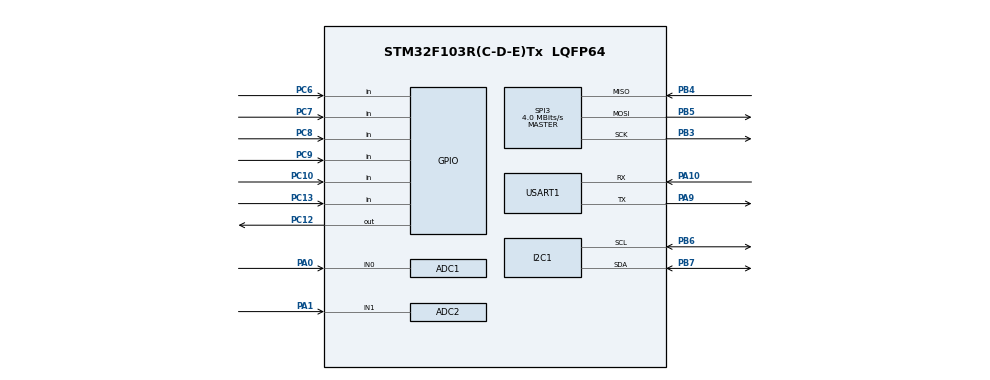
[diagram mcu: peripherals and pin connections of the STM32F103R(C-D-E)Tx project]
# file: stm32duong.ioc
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ADC1.Channel-1\#ChannelRegularConversion=ADC_CHANNEL_0
ADC1.NbrOfConversionFlag=1
ADC1.Rank-1\#ChannelRegularConversion=1
ADC1.SamplingTime-1\#ChannelRegularConversion=ADC_SAMPLETIME_1CYCLE_5
ADC1.master=1
ADC2.Channel-2\#ChannelRegularConversion=ADC_CHANNEL_1
ADC2.NbrOfConversionFlag=1
ADC2.Rank-2\#ChannelRegularConversion=1
ADC2.SamplingTime-2\#ChannelRegularConversion=ADC_SAMPLETIME_1CYCLE_5
Dma.ADC1.1.Direction=DMA_PERIPH_TO_MEMORY
Dma.ADC1.1.Instance=DMA1_Channel1
Dma.ADC1.1.MemDataAlignment=DMA_MDATAALIGN_HALFWORD
Dma.ADC1.1.MemInc=DMA_MINC_ENABLE
Dma.ADC1.1.Mode=DMA_NORMAL
Dma.ADC1.1.PeriphDataAlignment=DMA_PDATAALIGN_HALFWORD
Dma.ADC1.1.PeriphInc=DMA_PINC_DISABLE
Dma.ADC1.1.Priority=DMA_PRIORITY_LOW
Dma.Request0=USART1_TX
Dma.Request1=ADC1
Dma.USART1_TX.0.Direction=DMA_MEMORY_TO_PERIPH
Dma.USART1_TX.0.Instance=DMA1_Channel4
Dma.USART1_TX.0.MemDataAlignment=DMA_MDATAALIGN_BYTE
Dma.USART1_TX.0.MemInc=DMA_MINC_ENABLE
Dma.USART1_TX.0.Mode=DMA_NORMAL
Dma.USART1_TX.0.PeriphDataAlignment=DMA_PDATAALIGN_BYTE
Dma.USART1_TX.0.PeriphInc=DMA_PINC_DISABLE
Dma.USART1_TX.0.Priority=DMA_PRIORITY_LOW
FREERTOS.Tasks01=Task01_ADC_DMA,0,128,Task01_Adc_Dma,Default,NULL,Dynamic,NULL,NULL;Task02_DMA_Uart,1,128,Task02_Dma_Uart,Default,NULL,Dynamic,NULL,NULL;Task03_BlinkLed,-1,128,Task03_Blink_Led,Default,NULL,Dynamic,NULL,NULL
I2C1.I2C_Mode=I2C_Fast
Mcu.Family=STM32F1
Mcu.Name=STM32F103R(C-D-E)Tx
Mcu.Package=LQFP64
NVIC.DMA1_Channel1_IRQn=true\:5\:0\:false\:false\:true\:true\:false\:true\:true
NVIC.DMA1_Channel4_IRQn=true\:5\:0\:false\:false\:true\:true\:false\:true\:true
NVIC.PriorityGroup=NVIC_PRIORITYGROUP_4
NVIC.TIM1_UP_IRQn=true\:15\:0\:false\:false\:true\:false\:false\:true\:true
NVIC.TimeBase=TIM1_UP_IRQn
NVIC.TimeBaseIP=TIM1
PA0-WKUP.Signal=ADCx_IN0
PA1.Signal=ADCx_IN1
PA10.Mode=Asynchronous
PA10.Signal=USART1_RX
PA13.Mode=Serial_Wire
PA13.Signal=SYS_JTMS-SWDIO
PA14.Mode=Serial_Wire
PA14.Signal=SYS_JTCK-SWCLK
PA9.Mode=Asynchronous
PA9.Signal=USART1_TX
PB3.Mode=Full_Duplex_Master
PB3.Signal=SPI3_SCK
PB4.Mode=Full_Duplex_Master
PB4.Signal=SPI3_MISO
PB5.Mode=Full_Duplex_Master
PB5.Signal=SPI3_MOSI
PB6.Mode=I2C
PB6.Signal=I2C1_SCL
PB7.Mode=I2C
PB7.Signal=I2C1_SDA
PC10.GPIO_PuPd=GPIO_PULLDOWN
PC10.Signal=GPIO_Input
PC12.PinState=GPIO_PIN_RESET
PC12.Signal=GPIO_Output
PC13-TAMPER-RTC.GPIO_PuPd=GPIO_PULLDOWN
PC13-TAMPER-RTC.Signal=GPIO_Input
PC14-OSC32_IN.Mode=LSE-External-Oscillator
PC14-OSC32_IN.Signal=RCC_OSC32_IN
PC15-OSC32_OUT.Mode=LSE-External-Oscillator
PC15-OSC32_OUT.Signal=RCC_OSC32_OUT
PC6.GPIO_PuPd=GPIO_PULLDOWN
PC6.Signal=GPIO_Input
PC7.GPIO_PuPd=GPIO_PULLDOWN
PC7.Signal=GPIO_Input
PC8.GPIO_PuPd=GPIO_PULLDOWN
PC8.Signal=GPIO_Input
PC9.GPIO_PuPd=GPIO_PULLDOWN
PC9.Signal=GPIO_Input
PD0-OSC_IN.Mode=HSE-External-Oscillator
PD0-OSC_IN.Signal=RCC_OSC_IN
PD1-OSC_OUT.Mode=HSE-External-Oscillator
PD1-OSC_OUT.Signal=RCC_OSC_OUT
ProjectManager.HeapSize=0x200
ProjectManager.StackSize=0x400
ProjectManager.TargetToolchain=MDK-ARM V5.32
RCC.APB1Freq_Value=8000000
RCC.APB2Freq_Value=8000000
SH.ADCx_IN0.0=ADC1_IN0,IN0
SH.ADCx_IN1.0=ADC2_IN1,IN1
SPI3.CalculateBaudRate=4.0 MBits/s
SPI3.Direction=SPI_DIRECTION_2LINES
SPI3.Mode=SPI_MODE_MASTER
SPI3.VirtualType=VM_MASTER
USART1.VirtualMode=VM_ASYNC
VP_FREERTOS_VS_CMSIS_V1.Mode=CMSIS_V1
VP_SYS_VS_tim1.Mode=TIM1
board=custom

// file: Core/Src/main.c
/* USER CODE BEGIN Header */
/**
  ******************************************************************************
  * @file           : main.c
  * @brief          : Main program body
  ******************************************************************************
  * @attention
  *
  * Copyright (c) 2024 STMicroelectronics.
  * All rights reserved.
  *
  * This software is licensed under terms that can be found in the LICENSE file
  * in the root directory of this software component.
  * If no LICENSE file comes with this software, it is provided AS-IS.
  *
  ******************************************************************************
  */
/* USER CODE END Header */
#include "main.h"
#include "cmsis_os.h"

/* USER CODE BEGIN Includes */
#include "fonts.h"
#include "ssd1306.h"
#include "nike.h"

/* USER CODE END Includes */

/* USER CODE BEGIN PD */
#define	 	ON	1
#define		OFF	0

#define		Device_Led			0
#define		Device_Relay		1
/* USER CODE END PD */

ADC_HandleTypeDef hadc1;
ADC_HandleTypeDef hadc2;
DMA_HandleTypeDef hdma_adc1;

I2C_HandleTypeDef hi2c1;

SPI_HandleTypeDef hspi3;

UART_HandleTypeDef huart1;
DMA_HandleTypeDef hdma_usart1_tx;

osThreadId Task01_ADC_DMAHandle;
osThreadId Task02_DMA_UartHandle;
osThreadId Task03_BlinkLedHandle;

void SystemClock_Config(void);
static void MX_GPIO_Init(void);
static void MX_DMA_Init(void);
static void MX_USART1_UART_Init(void);
static void MX_ADC1_Init(void);
static void MX_ADC2_Init(void);
static void MX_I2C1_Init(void);
static void MX_SPI3_Init(void);
void Task01_Adc_Dma(void const * argument);
void Task02_Dma_Uart(void const * argument);
void Task03_Blink_Led(void const * argument);

/* USER CODE BEGIN 0 */
uint32_t adc_value[1];
/* USER CODE END 0 */

int main(void)
{

  /* MCU Configuration--------------------------------------------------------*/

  /* Reset of all peripherals, Initializes the Flash interface and the Systick. */
  HAL_Init();

  /* Configure the system clock */
  SystemClock_Config();

  /* Initialize all configured peripherals */
  MX_GPIO_Init();
  MX_DMA_Init();
  MX_USART1_UART_Init();
  MX_ADC1_Init();
  MX_ADC2_Init();
  MX_I2C1_Init();
  MX_SPI3_Init();
  /* USER CODE BEGIN 2 */
	SSD1306_Init();
  /* USER CODE END 2 */

  /* Create the thread(s) */
  /* definition and creation of Task01_ADC_DMA */
  osThreadDef(Task01_ADC_DMA, Task01_Adc_Dma, osPriorityNormal, 0, 128);
  Task01_ADC_DMAHandle = osThreadCreate(osThread(Task01_ADC_DMA), NULL);

  /* definition and creation of Task02_DMA_Uart */
  osThreadDef(Task02_DMA_Uart, Task02_Dma_Uart, osPriorityAboveNormal, 0, 128);
  Task02_DMA_UartHandle = osThreadCreate(osThread(Task02_DMA_Uart), NULL);

  /* definition and creation of Task03_BlinkLed */
  osThreadDef(Task03_BlinkLed, Task03_Blink_Led, osPriorityBelowNormal, 0, 128);
  Task03_BlinkLedHandle = osThreadCreate(osThread(Task03_BlinkLed), NULL);

  /* Start scheduler */
  osKernelStart();
  /* We should never get here as control is now taken by the scheduler */
  /* Infinite loop */
  while (1)
  {

  }
}

void SystemClock_Config(void)
{
  RCC_OscInitTypeDef RCC_OscInitStruct = {0};
  RCC_ClkInitTypeDef RCC_ClkInitStruct = {0};
  RCC_PeriphCLKInitTypeDef PeriphClkInit = {0};

  /** Initializes the RCC Oscillators according to the specified parameters
  * in the RCC_OscInitTypeDef structure.
  */
  RCC_OscInitStruct.OscillatorType = RCC_OSCILLATORTYPE_HSI;
  RCC_OscInitStruct.HSIState = RCC_HSI_ON;
  RCC_OscInitStruct.HSICalibrationValue = RCC_HSICALIBRATION_DEFAULT;
  RCC_OscInitStruct.PLL.PLLState = RCC_PLL_NONE;
  if (HAL_RCC_OscConfig(&RCC_OscInitStruct) != HAL_OK)
  {
    Error_Handler();
  }

  /** Initializes the CPU, AHB and APB buses clocks
  */
  RCC_ClkInitStruct.ClockType = RCC_CLOCKTYPE_HCLK|RCC_CLOCKTYPE_SYSCLK
                              |RCC_CLOCKTYPE_PCLK1|RCC_CLOCKTYPE_PCLK2;
  RCC_ClkInitStruct.SYSCLKSource = RCC_SYSCLKSOURCE_HSI;
  RCC_ClkInitStruct.AHBCLKDivider = RCC_SYSCLK_DIV1;
  RCC_ClkInitStruct.APB1CLKDivider = RCC_HCLK_DIV1;
  RCC_ClkInitStruct.APB2CLKDivider = RCC_HCLK_DIV1;

  if (HAL_RCC_ClockConfig(&RCC_ClkInitStruct, FLASH_LATENCY_0) != HAL_OK)
  {
    Error_Handler();
  }
  PeriphClkInit.PeriphClockSelection = RCC_PERIPHCLK_ADC;
  PeriphClkInit.AdcClockSelection = RCC_ADCPCLK2_DIV2;
  if (HAL_RCCEx_PeriphCLKConfig(&PeriphClkInit) != HAL_OK)
  {
    Error_Handler();
  }
}

static void MX_ADC1_Init(void)
{

  ADC_ChannelConfTypeDef sConfig = {0};

  /** Common config
  */
  hadc1.Instance = ADC1;
  hadc1.Init.ScanConvMode = ADC_SCAN_DISABLE;
  hadc1.Init.ContinuousConvMode = DISABLE;
  hadc1.Init.DiscontinuousConvMode = DISABLE;
  hadc1.Init.ExternalTrigConv = ADC_SOFTWARE_START;
  hadc1.Init.DataAlign = ADC_DATAALIGN_RIGHT;
  hadc1.Init.NbrOfConversion = 1;
  if (HAL_ADC_Init(&hadc1) != HAL_OK)
  {
    Error_Handler();
  }

  /** Configure Regular Channel
  */
  sConfig.Channel = ADC_CHANNEL_0;
  sConfig.Rank = ADC_REGULAR_RANK_1;
  sConfig.SamplingTime = ADC_SAMPLETIME_1CYCLE_5;
  if (HAL_ADC_ConfigChannel(&hadc1, &sConfig) != HAL_OK)
  {
    Error_Handler();
  }

}

static void MX_ADC2_Init(void)
{

  ADC_ChannelConfTypeDef sConfig = {0};

  /** Common config
  */
  hadc2.Instance = ADC2;
  hadc2.Init.ScanConvMode = ADC_SCAN_DISABLE;
  hadc2.Init.ContinuousConvMode = DISABLE;
  hadc2.Init.DiscontinuousConvMode = DISABLE;
  hadc2.Init.ExternalTrigConv = ADC_SOFTWARE_START;
  hadc2.Init.DataAlign = ADC_DATAALIGN_RIGHT;
  hadc2.Init.NbrOfConversion = 1;
  if (HAL_ADC_Init(&hadc2) != HAL_OK)
  {
    Error_Handler();
  }

  /** Configure Regular Channel
  */
  sConfig.Channel = ADC_CHANNEL_1;
  sConfig.Rank = ADC_REGULAR_RANK_1;
  sConfig.SamplingTime = ADC_SAMPLETIME_1CYCLE_5;
  if (HAL_ADC_ConfigChannel(&hadc2, &sConfig) != HAL_OK)
  {
    Error_Handler();
  }

}

static void MX_I2C1_Init(void)
{

  hi2c1.Instance = I2C1;
  hi2c1.Init.ClockSpeed = 400000;
  hi2c1.Init.DutyCycle = I2C_DUTYCYCLE_2;
  hi2c1.Init.OwnAddress1 = 0;
  hi2c1.Init.AddressingMode = I2C_ADDRESSINGMODE_7BIT;
  hi2c1.Init.DualAddressMode = I2C_DUALADDRESS_DISABLE;
  hi2c1.Init.OwnAddress2 = 0;
  hi2c1.Init.GeneralCallMode = I2C_GENERALCALL_DISABLE;
  hi2c1.Init.NoStretchMode = I2C_NOSTRETCH_DISABLE;
  if (HAL_I2C_Init(&hi2c1) != HAL_OK)
  {
    Error_Handler();
  }

}

static void MX_SPI3_Init(void)
{

  /* SPI3 parameter configuration*/
  hspi3.Instance = SPI3;
  hspi3.Init.Mode = SPI_MODE_MASTER;
  hspi3.Init.Direction = SPI_DIRECTION_2LINES;
  hspi3.Init.DataSize = SPI_DATASIZE_8BIT;
  hspi3.Init.CLKPolarity = SPI_POLARITY_LOW;
  hspi3.Init.CLKPhase = SPI_PHASE_1EDGE;
  hspi3.Init.NSS = SPI_NSS_SOFT;
  hspi3.Init.BaudRatePrescaler = SPI_BAUDRATEPRESCALER_2;
  hspi3.Init.FirstBit = SPI_FIRSTBIT_MSB;
  hspi3.Init.TIMode = SPI_TIMODE_DISABLE;
  hspi3.Init.CRCCalculation = SPI_CRCCALCULATION_DISABLE;
  hspi3.Init.CRCPolynomial = 10;
  if (HAL_SPI_Init(&hspi3) != HAL_OK)
  {
    Error_Handler();
  }

}

static void MX_USART1_UART_Init(void)
{

  huart1.Instance = USART1;
  huart1.Init.BaudRate = 115200;
  huart1.Init.WordLength = UART_WORDLENGTH_8B;
  huart1.Init.StopBits = UART_STOPBITS_1;
  huart1.Init.Parity = UART_PARITY_NONE;
  huart1.Init.Mode = UART_MODE_TX_RX;
  huart1.Init.HwFlowCtl = UART_HWCONTROL_NONE;
  huart1.Init.OverSampling = UART_OVERSAMPLING_16;
  if (HAL_UART_Init(&huart1) != HAL_OK)
  {
    Error_Handler();
  }

}

static void MX_DMA_Init(void)
{

  /* DMA controller clock enable */
  __HAL_RCC_DMA1_CLK_ENABLE();

  /* DMA interrupt init */
  /* DMA1_Channel1_IRQn interrupt configuration */
  HAL_NVIC_SetPriority(DMA1_Channel1_IRQn, 5, 0);
  HAL_NVIC_EnableIRQ(DMA1_Channel1_IRQn);
  /* DMA1_Channel4_IRQn interrupt configuration */
  HAL_NVIC_SetPriority(DMA1_Channel4_IRQn, 5, 0);
  HAL_NVIC_EnableIRQ(DMA1_Channel4_IRQn);

}

static void MX_GPIO_Init(void)
{
  GPIO_InitTypeDef GPIO_InitStruct = {0};

  /* GPIO Ports Clock Enable */
  __HAL_RCC_GPIOC_CLK_ENABLE();
  __HAL_RCC_GPIOD_CLK_ENABLE();
  __HAL_RCC_GPIOA_CLK_ENABLE();
  __HAL_RCC_GPIOB_CLK_ENABLE();

  /*Configure GPIO pin Output Level */
  HAL_GPIO_WritePin(GPIOC, GPIO_PIN_12, GPIO_PIN_RESET);

  /*Configure GPIO pins : PC13 PC6 PC7 PC8
                           PC9 PC10 */
  GPIO_InitStruct.Pin = GPIO_PIN_13|GPIO_PIN_6|GPIO_PIN_7|GPIO_PIN_8
                          |GPIO_PIN_9|GPIO_PIN_10;
  GPIO_InitStruct.Mode = GPIO_MODE_INPUT;
  GPIO_InitStruct.Pull = GPIO_PULLDOWN;
  HAL_GPIO_Init(GPIOC, &GPIO_InitStruct);

  /*Configure GPIO pin : PC12 */
  GPIO_InitStruct.Pin = GPIO_PIN_12;
  GPIO_InitStruct.Mode = GPIO_MODE_OUTPUT_PP;
  GPIO_InitStruct.Pull = GPIO_NOPULL;
  GPIO_InitStruct.Speed = GPIO_SPEED_FREQ_LOW;
  HAL_GPIO_Init(GPIOC, &GPIO_InitStruct);

}

/* USER CODE BEGIN 4 */

void ActuatorsActivation (char Devices, char Status)
{
	switch(Devices){
		case Device_Led: if(Status == 1) HAL_GPIO_WritePin(GPIOC, GPIO_PIN_12 , GPIO_PIN_SET);
					else	HAL_GPIO_WritePin(GPIOC, GPIO_PIN_12 , GPIO_PIN_RESET);
			break;
		case Device_Relay:  if(Status == 1) HAL_GPIO_WritePin(GPIOC, GPIO_PIN_12 , GPIO_PIN_SET);
					else	HAL_GPIO_WritePin(GPIOC, GPIO_PIN_13 , GPIO_PIN_RESET);
			break;

	}
}

void tempValue ()
{
	uint16_t value_light;

		HAL_ADCEx_Calibration_Start(&hadc2);
		float k;

		HAL_ADC_Start(&hadc2);
		HAL_ADC_PollForConversion(&hadc2, 1000);
		value_light = HAL_ADC_GetValue(&hadc2);
		k = (value_light / 4096.0) * 3.3 * 100.0;
		char snum_light[10];
		sprintf(snum_light, "%.2f", k);

		SSD1306_Clear();
		SSD1306_GotoXY(0, 30);
		SSD1306_Puts("LIGHT:", &Font_11x18, 1);
		SSD1306_GotoXY(60, 30);
		SSD1306_Puts(snum_light, &Font_11x18, 1);

		SSD1306_UpdateScreen();
}

void SensorActivation (char Devices, char Status)
{
	switch(Devices){
		case Device_Led: if(Status == 1) tempValue();

			break;
		case Device_Relay: if(Status == 1) tempValue();

			break;

	}
}

typedef struct Linker{
	char MenuID;
	struct Linker *pre;
	char Title[20];
	char List1[20];
	struct Linker *Menulist1; 	void (*ActivationON)(char, char);
	char List2[20];
	struct Linker *Menulist2;	void (*ActivationOFF)(char, char);

} Menu;
Menu MainMenu, SensorMenu, ActuatorMenu, LightMenu, TempMenu, RelayMenu, MotorMenu;

Menu MainMenu = {
	NULL,
	NULL,
	"Menu",
	"  Sensor",  	&SensorMenu,	 	NULL,
	"  Actuator",	&ActuatorMenu, 	NULL,
};

/*--------------------------------------------------------------------------------------*/
Menu  ActuatorMenu= {
	NULL,
	&MainMenu,
	"Actuator",
	"  Motor    ",&MotorMenu,	NULL,
	"  Relay    ", &RelayMenu,		NULL,
};

Menu  MotorMenu= {
	NULL,
	&ActuatorMenu,
	"Actuator",
	"  ON      ",	NULL,		&ActuatorsActivation,
	"  OFF      ", 	NULL,		&ActuatorsActivation,
};

Menu  RelayMenu= {
	NULL,
	&ActuatorMenu,
	"Actuator",
	"  ON      ",	NULL,		&ActuatorsActivation,
	"  OFF      ",	NULL,		&ActuatorsActivation,
};

/*--------------------------------------------------------------------------------------*/
Menu SensorMenu = {
	NULL,
	&MainMenu,
	"Menu",
	"  Temp      ",	&TempMenu,		NULL,
	"  Light      ", 	&LightMenu,		NULL,
};

Menu TempMenu = {
	Device_Relay,
	&SensorMenu,
	"Sensor",
	"  ON      ",	NULL,		&SensorActivation,
	"  OFF      ", 	NULL,		&SensorActivation,
};

Menu LightMenu = {
	Device_Led,
	&SensorMenu,
	"Sensor",
	"  ON      ",	NULL,		&SensorActivation,
	"  OFF      ",	NULL,		&SensorActivation,
};

void MenuDisplay(Menu *menu, unsigned char select)
{
	SSD1306_Clear();
	SSD1306_GotoXY(0, 0);
	SSD1306_Puts(menu->Title, &Font_11x18, 1);

	SSD1306_GotoXY(0, 22);
	SSD1306_Puts(menu->List1, &Font_11x18, 1);

	SSD1306_GotoXY(0, 45);
	SSD1306_Puts(menu->List2, &Font_11x18, 1);

	SSD1306_GotoXY(0, select*22);
	SSD1306_Puts(">", &Font_11x18, 1);

	SSD1306_UpdateScreen();
}

/* USER CODE END 4 */

void Task01_Adc_Dma(void const * argument)
{
  /* USER CODE BEGIN 5 */
  /* Infinite loop */

  for(;;)
  {
	HAL_ADC_Start_DMA(&hadc1, adc_value, 1);
    osDelay(10);
  }
  /* USER CODE END 5 */
}

void Task02_Dma_Uart(void const * argument)
{
  /* USER CODE BEGIN Task02_Dma_Uart */
	unsigned char select = 1;
	Menu *menu;
	menu = &MainMenu;
	MenuDisplay(menu, select);

  /* Infinite loop */

  for(;;)
  {

	  	if (HAL_GPIO_ReadPin(GPIOC, GPIO_PIN_6) ==  GPIO_PIN_SET){

					select = (select == 2)?1:select+1;
					MenuDisplay(menu, select);

			}

		  if (HAL_GPIO_ReadPin(GPIOC, GPIO_PIN_7) == GPIO_PIN_SET){

					select = (select == 1)?2:select - 1;
					MenuDisplay(menu, select);
			}

		  if(HAL_GPIO_ReadPin(GPIOC, GPIO_PIN_8)== GPIO_PIN_SET){
					switch (select){

						case 1:
							menu = (menu->Menulist1 == NULL) ? menu : menu->Menulist1;
							break;
						case 2:
							menu = (menu->Menulist1 == NULL) ? menu : menu->Menulist2;
							break;

					}
				MenuDisplay(menu, select);
			}

			if(HAL_GPIO_ReadPin(GPIOC, GPIO_PIN_9)== GPIO_PIN_SET){
				menu = (menu->pre == NULL) ? menu : menu->pre;
				MenuDisplay(menu, select);
			 }

			 if(HAL_GPIO_ReadPin(GPIOC, GPIO_PIN_10)== GPIO_PIN_SET){
				switch (select){

						case 1:
							if(menu->ActivationON!=NULL) menu->ActivationON(menu->MenuID, ON);

							break;
						case 2:
							if(menu->ActivationOFF!=NULL) menu->ActivationOFF(menu->MenuID, OFF);
							break;

					}
			 }

	 //uint32_t adc_result = adc_value[0];
	 //HAL_UART_Transmit_DMA(&huart1, (const uint8_t *)&adc_value, 1);  // PA9

	  /*
	  if(flag == 1){
		uint16_t value_light;

		HAL_ADCEx_Calibration_Start(&hadc2);
		float k;

		HAL_ADC_Start(&hadc2);
		HAL_ADC_PollForConversion(&hadc2, 1000);
		value_light = HAL_ADC_GetValue(&hadc2);
		k = (value_light / 4096.0) * 3.3 * 100.0;
		char snum_light[10];
		sprintf(snum_light, "%.2f", k);

		SSD1306_GotoXY(0, 30);
		SSD1306_Puts("LIGHT:", &Font_11x18, 1);
		SSD1306_GotoXY(60, 30);
		SSD1306_Puts(snum_light, &Font_11x18, 1);

		SSD1306_UpdateScreen();
		}
	  */

    osDelay(10);
  }
  /* USER CODE END Task02_Dma_Uart */
}

void Task03_Blink_Led(void const * argument)
{
  /* USER CODE BEGIN Task03_Blink_Led */
  /* Infinite loop */
	RCC->APB2ENR |= 0xFC; /* Enable clocks forGPIO ports */
	GPIOA->CRL = 0x44444344; /* PA2 as output */
  for(;;)
  {

	GPIOA->ODR ^= (1<<2); /* toggle PA2 */
	volatile unsigned long l = 0;
	for(uint16_t i = 0; i < 100; i++)
		for(l = 0; l < 6000; l++)
		{
		}
	osDelay(10);
  }
  /* USER CODE END Task03_Blink_Led */
}

void HAL_TIM_PeriodElapsedCallback(TIM_HandleTypeDef *htim)
{
  if (htim->Instance == TIM1) {
    HAL_IncTick();
  }
}

void Error_Handler(void)
{
  __disable_irq();
  while (1)
  {
  }
}
